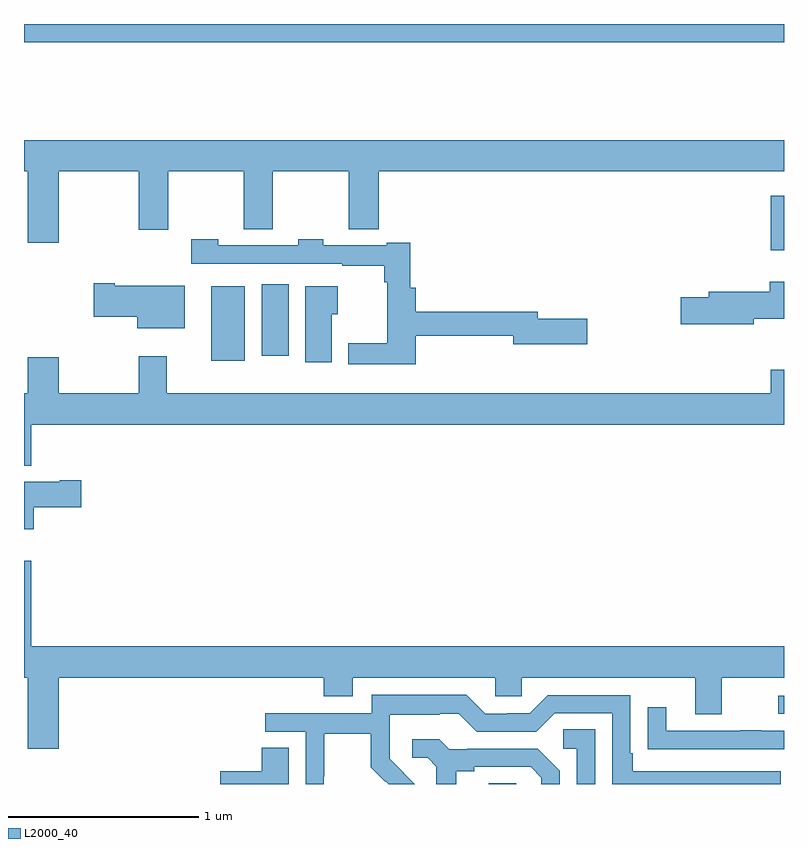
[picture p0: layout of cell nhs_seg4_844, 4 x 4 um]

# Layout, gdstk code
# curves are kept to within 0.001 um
import gdstk
lib = gdstk.Library(unit=1e-6, precision=1e-09)
def R(c, l, rs):  # rectangles x0, y0, x1, y1
    for r in rs: c.add(gdstk.rectangle(r[:2], r[2:], *l))
def P(c, l, *ps):  # polygons
    for p in ps: c.add(gdstk.Polygon(p, *l))
L2000_40 = (2000, 40)

nhs_seg4_844 = lib.new_cell('nhs_seg4_844')
R(nhs_seg4_844, L2000_40, [(155.447,822.9,155.592,822.905), (156.969,823.269,157,823.365), (153.986,825.128,154.162,825.52), (154.25,825.153,154.393,825.529), (156.929,825.71,157,825.997), (153,826.804,157,826.9)])
P(nhs_seg4_844, L2000_40, [(153.184,826.124),(153.604,826.124),(153.604,825.816),(153.759,825.816),(153.759,826.124),(154.156,826.124),(154.156,825.82),(154.31,825.82),(154.31,826.124),(154.708,826.124),(154.708,825.82),(154.868,825.82),(154.868,826.124),(157,826.124),(157,826.288),(153,826.288),(153,826.124),(153.02,826.124),(153.02,825.75),(153.184,825.75)],
  [(155.063,825.258),(155.576,825.258),(155.576,825.215),(155.965,825.215),(155.965,825.35),(155.704,825.35),(155.704,825.386),(155.063,825.386),(155.063,825.511),(155.033,825.511),(155.033,825.748),(154.91,825.748),(154.91,825.735),(154.575,825.735),(154.575,825.768),(154.443,825.768),(154.443,825.735),(154.023,825.735),(154.023,825.768),(153.879,825.768),(153.879,825.639),(154.675,825.639),(154.675,825.627),(154.897,825.627),(154.897,825.542),(154.912,825.542),(154.912,825.22),(154.707,825.22),(154.707,825.11),(155.063,825.11)],
  [(156.84,825.35),(157,825.35),(157,825.544),(156.926,825.544),(156.926,825.491),(156.605,825.491),(156.605,825.461),(156.456,825.461),(156.456,825.319),(156.84,825.319)],
  [(153.847,825.523),(153.478,825.523),(153.478,825.536),(153.366,825.536),(153.366,825.358),(153.596,825.358),(153.596,825.299),(153.847,825.299)],
  [(154.621,825.373),(154.651,825.373),(154.651,825.52),(154.481,825.52),(154.481,825.12),(154.621,825.12)],
  [(153.037,824.792),(157,824.792),(157,825.08),(156.929,825.08),(156.929,824.956),(153.751,824.956),(153.751,825.151),(153.604,825.151),(153.604,824.956),(153.184,824.956),(153.184,825.145),(153.02,825.145),(153.02,824.956),(153,824.956),(153,824.576),(153.037,824.576)],
  [(153.052,824.357),(153.301,824.357),(153.301,824.499),(153.188,824.499),(153.188,824.491),(153,824.491),(153,824.24),(153.052,824.24)],
  [(153.184,823.46),(154.577,823.46),(154.577,823.361),(154.729,823.361),(154.729,823.46),(155.481,823.46),(155.481,823.362),(155.619,823.362),(155.619,823.46),(156.533,823.46),(156.533,823.266),(156.673,823.266),(156.673,823.46),(157,823.46),(157,823.624),(153.037,823.624),(153.037,824.074),(153,824.074),(153,823.46),(153.02,823.46),(153.02,823.086),(153.184,823.086)],
  [(154.578,822.94),(154.581,822.94),(154.581,823.164),(154.825,823.164),(154.825,822.989),(154.902,822.912),(154.905,822.915),(154.92,822.9),(155.056,822.9),(154.924,823.034),(154.924,823.131),(154.926,823.131),(154.926,823.265),(155.189,823.265),(155.189,823.269),(155.289,823.269),(155.382,823.176),(155.697,823.176),(155.793,823.272),(156.096,823.272),(156.096,822.9),(156.982,822.9),(156.982,822.966),(156.205,822.966),(156.205,823.063),(156.192,823.063),(156.192,823.368),(155.757,823.368),(155.661,823.272),(155.543,823.272),(155.543,823.269),(155.427,823.269),(155.327,823.369),(154.83,823.369),(154.83,823.272),(154.269,823.272),(154.269,823.176),(154.482,823.176),(154.482,822.9),(154.578,822.9)],
  [(157,823.179),(156.881,823.179),(156.881,823.184),(156.769,823.184),(156.769,823.179),(156.379,823.179),(156.379,823.303),(156.283,823.303),(156.283,823.084),(156.385,823.084),(156.385,823.083),(157,823.083)],
  [(156.006,823.187),(155.838,823.187),(155.838,823.086),(155.91,823.086),(155.91,822.9),(156.006,822.9)],
  [(155.275,822.968),(155.371,822.968),(155.371,822.99),(155.666,822.99),(155.723,822.933),(155.723,822.9),(155.82,822.9),(155.82,822.97),(155.704,823.086),(155.332,823.086),(155.332,823.083),(155.238,823.083),(155.186,823.135),(155.043,823.135),(155.043,823.038),(155.124,823.038),(155.171,822.991),(155.171,822.9),(155.275,822.9)],
  [(154.393,823.091),(154.25,823.091),(154.25,822.968),(154.032,822.968),(154.032,822.9),(154.393,822.9)])

lib.write_gds('nhs_seg4_844.gds')
